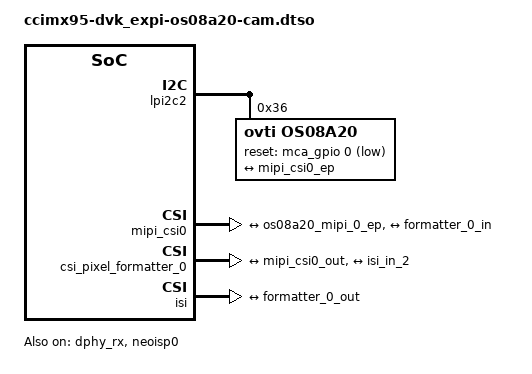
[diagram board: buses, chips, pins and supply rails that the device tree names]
// SPDX-License-Identifier: (GPL-2.0+ OR MIT)
/*
 * Copyright 2026 Digi International Inc.
 */

/dts-v1/;
/plugin/;

#include <dt-bindings/clock/fsl,imx95-clock.h>
#include <dt-bindings/gpio/gpio.h>
#include <dt-bindings/interrupt-controller/irq.h>
#include "../freescale/imx95-pinfunc.h"

/ {
	fragment@0 {
		target-path = "/";
		__overlay__ {
			overlay-description = "DVK: NXP EXPI-OS08A20 MIPI camera";
		};
	};

	/* Camera sensor */
	fragment@1 {
		target = <&lpi2c2>;
		__overlay__ {
			#address-cells = <1>;
			#size-cells = <0>;
			status = "okay";

			/* MIPI-CSI camera */
			os08a20: os08a20_mipi@36 {
				compatible = "ovti,os08a20";
				reg = <0x36>;
				/* MIPI_CSI1_PWDN#: MCA PA3 */
				reset-gpios = <&mca_gpio 0 GPIO_ACTIVE_LOW>;
				orientation = <2>;
				rotation = <0>;
				status = "okay";

				port {
					os08a20_mipi_0_ep: endpoint {
						remote-endpoint = <&mipi_csi0_ep>;
						data-lanes = <1 2 3 4>;
						clock-lanes = <0>;
					};
				};
			};
		};
	};

	/* Enable MIPI Rx DPHY */
	fragment@2 {
		target = <&dphy_rx>;
		__overlay__ {
			status = "okay";
		};
	};

	/* Enable MIPI CSI */
	fragment@3 {
		target = <&mipi_csi0>;
		__overlay__ {
			status = "okay";

			ports {
				#address-cells = <1>;
				#size-cells = <0>;

				port@0 {
					reg = <0>;

					mipi_csi0_ep: endpoint {
						remote-endpoint = <&os08a20_mipi_0_ep>;
						data-lanes = <1 2 3 4>;
						clock-lanes = <0>;
					};
				};

				port@1 {
					reg = <1>;
					mipi_csi0_out: endpoint {
						remote-endpoint = <&formatter_0_in>;
					};
				};
			};
		};
	};

	/* Enable CSI pixel formatter */
	fragment@4 {
		target = <&csi_pixel_formatter_0>;
		__overlay__ {
			status = "okay";

			ports {
				#address-cells = <1>;
				#size-cells = <0>;

				port@0 {
					reg = <0>;

					formatter_0_in: endpoint {
						remote-endpoint = <&mipi_csi0_out>;
					};
				};

				port@1 {
					reg = <1>;

					formatter_0_out: endpoint {
						remote-endpoint = <&isi_in_2>;
					};
				};
			};
		};
	};

	/* Enable the Image Sensing Interface */
	fragment@5 {
		target = <&isi>;
		__overlay__ {
			status = "okay";

			ports {
				#address-cells = <1>;
				#size-cells = <0>;

				/*
				* ISI ports 0 and 1 are fed by DPU pixel-link outputs.
				* ISI ports 2 and 3 are fed by CameraMix
				* (formatter/interleaver) outputs.
				*/
				port@2 {
					reg = <2>;

					isi_in_2: endpoint {
						remote-endpoint = <&formatter_0_out>;
					};
				};
			};
		};
	};

	/* Enable Neo ISP */
	fragment@6 {
		target = <&neoisp0>;
		__overlay__ {
			compatible = "nxp,imx95-b0-neoisp";
			status = "okay";
		};
	};
};
